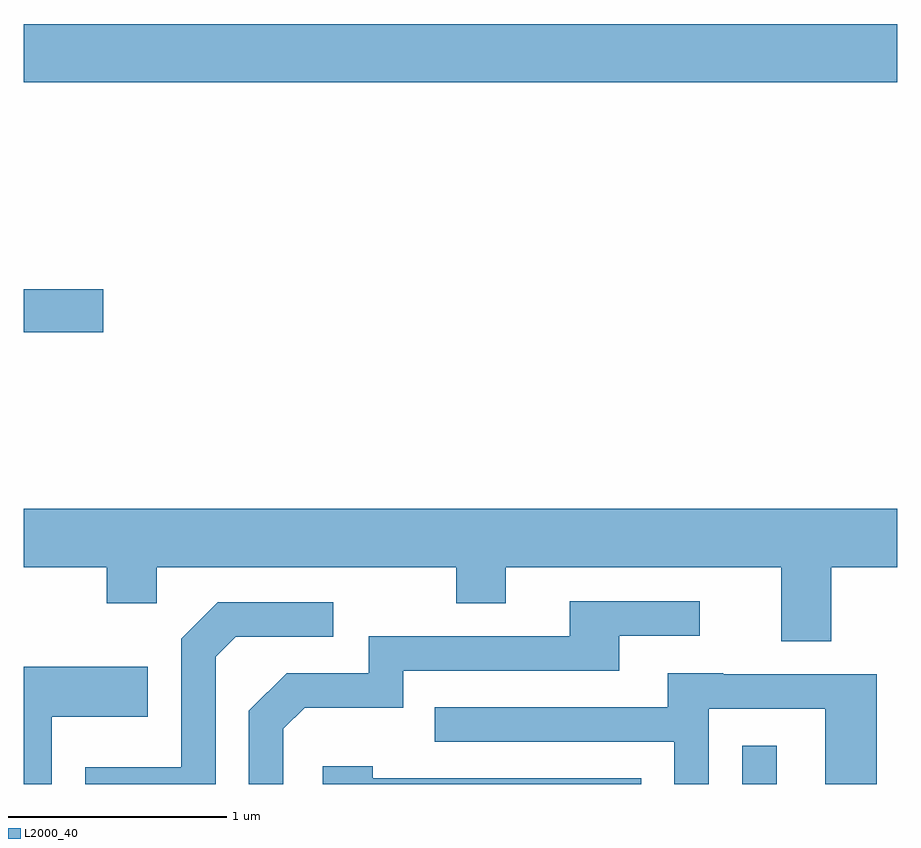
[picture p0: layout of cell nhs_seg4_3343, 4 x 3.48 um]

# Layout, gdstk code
import gdstk
lib = gdstk.Library(unit=1e-6, precision=1e-09)
def R(c, l, rs):  # rectangles x0, y0, x1, y1
    for r in rs: c.add(gdstk.rectangle(r[:2], r[2:], *l))
def P(c, l, *ps):  # polygons
    for p in ps: c.add(gdstk.Polygon(p, *l))
L2000_40 = (2000, 40)

nhs_seg4_3343 = lib.new_cell('nhs_seg4_3343')
R(nhs_seg4_3343, L2000_40, [(286.901,1275.982,287.059,1276.158), (283.611,1278.051,283.974,1278.249), (283.611,1279.196,287.611,1279.464)])
P(nhs_seg4_3343, L2000_40, [(287.309,1276.976),(287.611,1276.976),(287.611,1277.244),(283.611,1277.244),(283.611,1276.976),(283.991,1276.976),(283.991,1276.811),(284.219,1276.811),(284.219,1276.976),(285.591,1276.976),(285.591,1276.811),(285.819,1276.811),(285.819,1276.976),(287.081,1276.976),(287.081,1276.636),(287.309,1276.636)],
  [(284.799,1276.234),(284.897,1276.331),(285.349,1276.331),(285.349,1276.501),(286.339,1276.501),(286.339,1276.661),(286.708,1276.661),(286.708,1276.819),(286.111,1276.819),(286.111,1276.659),(285.191,1276.659),(285.191,1276.489),(284.814,1276.489),(284.641,1276.317),(284.641,1275.982),(284.799,1275.982)],
  [(284.489,1276.564),(284.582,1276.656),(285.028,1276.656),(285.028,1276.814),(284.499,1276.814),(284.331,1276.647),(284.331,1276.059),(283.891,1276.059),(283.891,1275.982),(284.489,1275.982)],
  [(283.739,1276.291),(284.179,1276.291),(284.179,1276.519),(283.611,1276.519),(283.611,1275.982),(283.739,1275.982)],
  [(286.749,1276.326),(287.281,1276.326),(287.281,1275.982),(287.519,1275.982),(287.519,1276.484),(286.815,1276.484),(286.815,1276.489),(286.561,1276.489),(286.561,1276.334),(285.493,1276.334),(285.493,1276.176),(286.591,1276.176),(286.591,1275.982),(286.749,1275.982)],
  [(286.439,1276.009),(285.209,1276.009),(285.209,1276.064),(284.981,1276.064),(284.981,1275.982),(286.439,1275.982)])

lib.write_gds('nhs_seg4_3343.gds')
